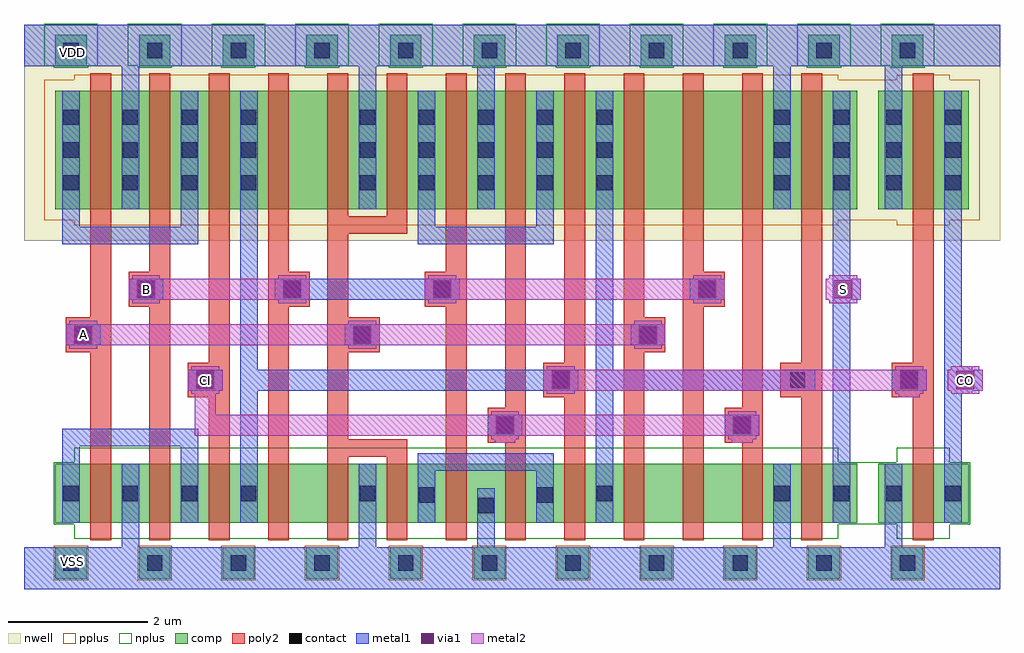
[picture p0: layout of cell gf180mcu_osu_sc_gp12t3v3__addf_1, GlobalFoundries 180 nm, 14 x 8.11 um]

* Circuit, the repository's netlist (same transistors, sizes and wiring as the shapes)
* Copyright 2022 Google LLC
*
* Licensed under the Apache License, Version 2.0 (the "License");
* you may not use this file except in compliance with the License.
* You may obtain a copy of the License at
*
*      http://www.apache.org/licenses/LICENSE-2.0
*
* Unless required by applicable law or agreed to in writing, software
* distributed under the License is distributed on an "AS IS" BASIS,
* WITHOUT WARRANTIES OR CONDITIONS OF ANY KIND, either express or implied.
* See the License for the specific language governing permissions and
* limitations under the License.

* NGSPICE file created from gf180mcu_osu_sc_gp12t3v3__addf_1.ext - technology: gf180mcuC

.subckt gf180mcu_osu_sc_gp12t3v3__addf_1 A B CI S CO VDD VSS
X0 S a_161_21# VDD VDD pfet_03p3 w=1.7u l=0.3u
X1 VDD CI a_195_111# VDD pfet_03p3 w=1.7u l=0.3u
X2 a_195_21# B a_178_21# VSS nfet_03p3 w=0.85u l=0.3u
X3 a_76_111# B a_59_21# VDD pfet_03p3 w=1.7u l=0.3u
X4 VDD A a_76_111# VDD pfet_03p3 w=1.7u l=0.3u
X5 a_178_21# A a_161_21# VSS nfet_03p3 w=0.85u l=0.3u
X6 a_59_21# CI a_9_111# VDD pfet_03p3 w=1.7u l=0.3u
X7 a_9_111# B VDD VDD pfet_03p3 w=1.7u l=0.3u
X8 a_110_21# CI VSS VSS nfet_03p3 w=0.85u l=0.3u
X9 VDD A a_9_111# VDD pfet_03p3 w=1.7u l=0.3u
X10 a_59_21# CI a_9_21# VSS nfet_03p3 w=0.85u l=0.3u
X11 VSS B a_110_21# VSS nfet_03p3 w=0.85u l=0.3u
X12 VSS A a_9_21# VSS nfet_03p3 w=0.85u l=0.3u
X13 CO a_59_21# VSS VSS nfet_03p3 w=0.85u l=0.3u
X14 VSS CI a_195_21# VSS nfet_03p3 w=0.85u l=0.3u
X15 CO a_59_21# VDD VDD pfet_03p3 w=1.7u l=0.3u
X16 VSS A a_76_21# VSS nfet_03p3 w=0.85u l=0.3u
X17 a_161_21# a_59_21# a_110_21# VSS nfet_03p3 w=0.85u l=0.3u
X18 a_76_21# B a_59_21# VSS nfet_03p3 w=0.85u l=0.3u
X19 a_178_111# A a_161_21# VDD pfet_03p3 w=1.7u l=0.3u
X20 a_195_111# B a_178_111# VDD pfet_03p3 w=1.7u l=0.3u
X21 a_9_21# B VSS VSS nfet_03p3 w=0.85u l=0.3u
X22 a_110_21# A VSS VSS nfet_03p3 w=0.85u l=0.3u
X23 a_161_21# a_59_21# a_110_111# VDD pfet_03p3 w=1.7u l=0.3u
X24 a_110_111# CI VDD VDD pfet_03p3 w=1.7u l=0.3u
X25 VDD B a_110_111# VDD pfet_03p3 w=1.7u l=0.3u
X26 a_110_111# A VDD VDD pfet_03p3 w=1.7u l=0.3u
X27 S a_161_21# VSS VSS nfet_03p3 w=0.85u l=0.3u
.ends

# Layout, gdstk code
import gdstk
lib = gdstk.Library(unit=1e-6, precision=1e-09)
def R(c, l, rs):  # rectangles x0, y0, x1, y1
    for r in rs: c.add(gdstk.rectangle(r[:2], r[2:], *l))
def A(c, l, x, y, w, h, nx, ny, dx, dy):  # array of equal rectangles
    R(c, l, [(x+i*dx, y+j*dy, x+i*dx+w, y+j*dy+h) for i in range(nx) for j in range(ny)])
nwell = (21, 0)
comp = (22, 0)
poly2 = (30, 0)
pplus = (31, 0)
nplus = (32, 0)
contact = (33, 0)
metal1 = (34, 0)
via1 = (35, 0)
metal2 = (36, 0)

gf180mcu_osu_sc_gp12t3v3 = lib.new_cell('gf180mcu_osu_sc_gp12t3v3__addf_1')
R(gf180mcu_osu_sc_gp12t3v3, nwell, [(0,5,14,8.1)])
A(gf180mcu_osu_sc_gp12t3v3, comp, 0.45, 0.15, 0.45, 0.45, 11, 2, 1.2, 7.35)
R(gf180mcu_osu_sc_gp12t3v3, comp, [(0.45,0.95,11.95,1.8), (12.25,0.95,13.55,1.8), (0.45,5.45,11.95,7.15), (12.25,5.45,13.55,7.15)])
R(gf180mcu_osu_sc_gp12t3v3, poly2, [(0.95,0.7,1.25,3.4), (1.8,0.7,2.1,4.05), (2.65,0.7,2.95,2.75), (3.5,0.7,3.8,4.05), (4.35,0.7,4.65,1.9), (5.2,0.7,5.5,1.9), (6.05,0.7,6.35,4.05), (6.9,0.7,7.2,2.1), (7.75,0.7,8.05,2.75), (8.6,0.7,8.9,3.4), (9.45,0.7,9.75,4.05), (10.3,0.7,10.6,2.1), (11.15,0.7,11.45,2.75), (12.75,0.7,13.05,2.75), (4.35,1.9,5.5,2.15), (6.65,2.1,7.2,2.6), (10.05,2.1,10.6,2.6), (4.35,2.15,4.65,3.4), (6.9,2.6,7.2,7.4), (10.3,2.6,10.6,7.4), (2.35,2.75,2.95,3.25), (7.45,2.75,8.05,3.25), (10.85,2.75,11.45,3.25), (12.45,2.75,13.05,3.25), (2.65,3.25,2.95,7.4), (7.75,3.25,8.05,7.4), (11.15,3.25,11.45,7.4), (12.75,3.25,13.05,7.4), (0.6,3.4,1.25,3.9), (4.35,3.4,5.1,3.9), (8.6,3.4,9.2,3.9), (0.95,3.9,1.25,7.4), (4.35,3.9,4.65,5.1), (8.6,3.9,8.9,7.4), (1.5,4.05,2.1,4.55), (3.5,4.05,4.1,4.55), (5.75,4.05,6.35,4.55), (9.45,4.05,10.05,4.55), (1.8,4.55,2.1,7.4), (3.5,4.55,3.8,7.4), (6.05,4.55,6.35,7.4), (9.45,4.55,9.75,7.4), (4.35,5.1,5.5,5.35), (4.35,5.35,4.65,7.4), (5.2,5.35,5.5,7.4)])
A(gf180mcu_osu_sc_gp12t3v3, pplus, 0.43, 0.13, 0.49, 0.49, 11, 1, 1.2, 0)
R(gf180mcu_osu_sc_gp12t3v3, pplus, [(0.72,5.22,11.68,5.29), (12.52,5.22,13.28,5.29), (0.29,5.29,13.71,7.31), (0.72,7.31,11.68,7.38), (12.52,7.31,13.28,7.38)])
A(gf180mcu_osu_sc_gp12t3v3, nplus, 0.43, 7.48, 0.49, 0.03, 11, 1, 1.2, 0)
A(gf180mcu_osu_sc_gp12t3v3, nplus, 0.29, 7.51, 0.77, 0.6, 11, 1, 1.2, 0)
R(gf180mcu_osu_sc_gp12t3v3, nplus, [(0.72,0.72,11.68,0.93), (12.52,0.72,13.28,0.93), (0.43,0.93,13.57,1.82), (0.72,1.82,11.68,2.03), (12.52,1.82,13.28,2.03)])
A(gf180mcu_osu_sc_gp12t3v3, contact, 0.565, 0.265, 0.22, 0.22, 11, 2, 1.2, 7.35)
A(gf180mcu_osu_sc_gp12t3v3, contact, 0.565, 1.265, 0.22, 0.22, 4, 2, 0.85, 4.455)
A(gf180mcu_osu_sc_gp12t3v3, contact, 4.815, 5.72, 0.22, 0.22, 5, 3, 0.85, 0.47)
A(gf180mcu_osu_sc_gp12t3v3, contact, 10.765, 5.72, 0.22, 0.22, 1, 3, 0, 0.47)
A(gf180mcu_osu_sc_gp12t3v3, contact, 11.615, 5.72, 0.22, 0.22, 1, 3, 0, 0.47)
A(gf180mcu_osu_sc_gp12t3v3, contact, 12.365, 5.72, 0.22, 0.22, 1, 3, 0, 0.47)
A(gf180mcu_osu_sc_gp12t3v3, contact, 13.215, 5.72, 0.22, 0.22, 1, 3, 0, 0.47)
A(gf180mcu_osu_sc_gp12t3v3, contact, 0.565, 6.19, 0.22, 0.22, 4, 2, 0.85, 0.47)
R(gf180mcu_osu_sc_gp12t3v3, contact, [(6.515,1.09,6.735,1.31), (5.665,1.24,5.885,1.46), (7.365,1.24,7.585,1.46), (4.815,1.265,5.035,1.485), (8.215,1.265,8.435,1.485), (10.765,1.265,10.985,1.485), (11.615,1.265,11.835,1.485), (12.365,1.265,12.585,1.485), (13.215,1.265,13.435,1.485), (6.79,2.24,7.01,2.46), (10.19,2.24,10.41,2.46), (2.49,2.89,2.71,3.11), (7.59,2.89,7.81,3.11), (10.99,2.89,11.21,3.11), (12.59,2.89,12.81,3.11), (0.74,3.54,0.96,3.76), (4.74,3.54,4.96,3.76), (8.84,3.54,9.06,3.76), (1.64,4.19,1.86,4.41), (3.74,4.19,3.96,4.41), (5.89,4.19,6.11,4.41), (9.69,4.19,9.91,4.41)])
R(gf180mcu_osu_sc_gp12t3v3, metal1, [(0,0,14,0.6), (1.4,0.6,1.65,1.8), (4.8,0.6,5.05,1.8), (6.5,0.6,6.75,1.45), (10.75,0.6,11,1.8), (12.35,0.6,12.6,1.8), (0.55,0.95,0.8,2.05), (2.25,0.95,2.5,2.05), (3.1,0.95,3.35,2.85), (5.65,0.95,5.9,1.7), (7.35,0.95,7.6,1.7), (8.2,0.95,8.45,2.85), (11.6,0.95,11.85,4.15), (13.2,0.95,13.45,2.8), (5.65,1.7,7.6,1.95), (0.55,2.05,2.5,2.3), (6.65,2.2,7.15,2.5), (10.05,2.2,10.55,2.5), (13.2,2.8,13.6,2.85), (2.35,2.85,2.85,3.15), (3.1,2.85,7.95,3.15), (8.2,2.85,11.35,3.15), (12.45,2.85,12.95,3.15), (13.2,2.85,13.75,3.15), (3.1,3.15,3.35,7.15), (8.2,3.15,8.45,7.15), (13.2,3.15,13.6,3.2), (13.2,3.2,13.45,7.15), (0.6,3.5,1.1,3.8), (4.6,3.5,5.1,3.8), (8.7,3.5,9.2,3.8), (1.5,4.15,2,4.45), (3.6,4.15,6.25,4.45), (9.55,4.15,10.05,4.45), (11.6,4.15,12,4.45), (11.6,4.45,11.85,7.15), (0.55,4.95,2.5,5.2), (5.65,4.95,7.6,5.2), (0.55,5.2,0.8,7.15), (2.25,5.2,2.5,7.15), (5.65,5.2,5.9,7.15), (7.35,5.2,7.6,7.15), (1.4,5.45,1.65,7.5), (4.8,5.45,5.05,7.5), (6.5,5.45,6.75,7.5), (10.75,5.45,11,7.5), (12.35,5.45,12.6,7.5), (0,7.5,14,8.1)])
R(gf180mcu_osu_sc_gp12t3v3, via1, [(6.77,2.22,7.03,2.48), (10.17,2.22,10.43,2.48), (2.47,2.87,2.73,3.13), (7.57,2.87,7.83,3.13), (12.57,2.87,12.83,3.13), (13.37,2.87,13.63,3.13), (0.72,3.52,0.98,3.78), (4.72,3.52,4.98,3.78), (8.82,3.52,9.08,3.78), (1.62,4.17,1.88,4.43), (3.72,4.17,3.98,4.43), (5.87,4.17,6.13,4.43), (9.67,4.17,9.93,4.43), (11.62,4.17,11.88,4.43)])
R(gf180mcu_osu_sc_gp12t3v3, metal2, [(6.75,2.1,7.05,2.15), (10.15,2.1,10.45,2.15), (6.7,2.15,7.1,2.2), (10.1,2.15,10.5,2.2), (2.45,2.2,10.55,2.5), (2.45,2.5,2.75,2.8), (6.7,2.5,7.1,2.55), (10.1,2.5,10.5,2.55), (12.55,2.75,12.85,2.8), (2.4,2.8,2.8,2.85), (7.5,2.8,7.9,2.85), (12.5,2.8,12.9,2.85), (13.3,2.8,13.7,2.85), (2.35,2.85,2.85,3.15), (7.45,2.85,12.95,3.15), (13.25,2.85,13.75,3.15), (2.4,3.15,2.8,3.2), (7.5,3.15,7.9,3.2), (12.5,3.15,12.9,3.2), (13.3,3.15,13.7,3.2), (0.65,3.45,1.05,3.5), (4.65,3.45,5.05,3.5), (8.75,3.45,9.15,3.5), (0.6,3.5,9.2,3.8), (0.65,3.8,1.05,3.85), (4.65,3.8,5.05,3.85), (8.75,3.8,9.15,3.85), (1.55,4.1,1.95,4.15), (3.65,4.1,4.05,4.15), (5.8,4.1,6.2,4.15), (9.6,4.1,10,4.15), (11.55,4.1,11.95,4.15), (1.5,4.15,4.1,4.45), (5.75,4.15,10.05,4.45), (11.5,4.15,12,4.45), (1.55,4.45,1.95,4.5), (3.65,4.45,4.05,4.5), (5.8,4.45,6.2,4.5), (9.6,4.45,10,4.5), (11.55,4.45,11.95,4.5)])
gf180mcu_osu_sc_gp12t3v3.add(gdstk.Label('VSS', (0.7,0.4), layer=34, texttype=0))
gf180mcu_osu_sc_gp12t3v3.add(gdstk.Label('VDD', (0.7,7.7), layer=34, texttype=0))
gf180mcu_osu_sc_gp12t3v3.add(gdstk.Label('A', (0.85,3.65), layer=36, texttype=10))
gf180mcu_osu_sc_gp12t3v3.add(gdstk.Label('B', (1.75,4.3), layer=36, texttype=10))
gf180mcu_osu_sc_gp12t3v3.add(gdstk.Label('CI', (2.6,3), layer=36, texttype=10))
gf180mcu_osu_sc_gp12t3v3.add(gdstk.Label('CO', (13.5,3), layer=36, texttype=10))
gf180mcu_osu_sc_gp12t3v3.add(gdstk.Label('S', (11.75,4.3), layer=36, texttype=10))

lib.write_gds('gf180mcu_osu_sc_gp12t3v3__addf_1.gds')
